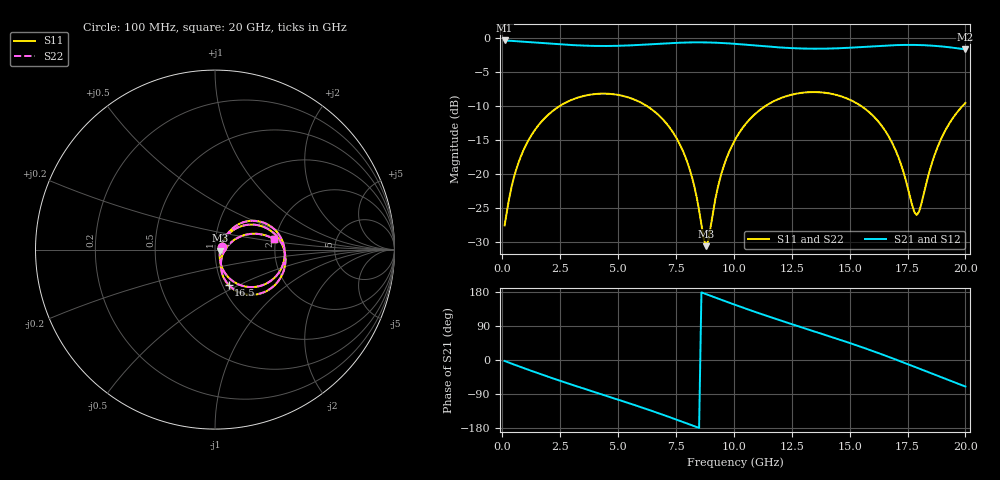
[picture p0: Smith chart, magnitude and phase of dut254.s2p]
! Touchstone file exported from HFSS 2026.1.0
!  File:  C:/ffzhzh/LocalFiles/Ansys_Project_Files/temp_train_TSV_RDL_254_1783068387_45820.aedt
!  Generated:  04:59:48 PM Jul  3, 2026
!  Design:  TSV_RDL
!  Project:  temp_train_TSV_RDL_254_1783068387_45820
! Variables:
!  h_bsmrdl = 4.46um
!  h_ox = 20um
!  h_rdl = 5um
!  h_sub = 93.65um
!  h_tmrdl = 2.24um
!  h_tsv = 93.65um
!  h_via = 3um
!  l_bsmrdl = 854.16um
!  l_sub = 6683.49um
!  l_tmrdl = 899.57um
!  m_sub = 200um
!  pitch = 39.89um
!  r_tsv = 13.64um
!  s_tmrdl = 10um
!  w_bsmrdl = 11.21um
!  w_sub = 500um
!  w_tmrdl = 29.7um
!  x_tsv_center1 = 914.42um
!  x_tsv_center2 = 1779.79um
!  x_tsv_center3 = 2709.06um
!  x_tsv_center4 = 3574.43um
!  x_tsv_center5 = 4503.7um
!  x_tsv_center6 = 5369.07um
# GHz S MA R 50.000000
! Terminal data exported
! Port[1] = TM_RDL1_1_T1
! Port[2] = TM_RDL5_1_T1
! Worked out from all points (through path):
!   200 points, 100 MHz to 20 GHz, reference 50 ohm
!   highest |S21| = -0.33 dB at 100 MHz (marker M1); lowest = -1.7 dB at 20 GHz (marker M2)
!   group delay of S21, straight-line fit = 58.9 ps
!   lowest |S11| = -30.7 dB at 8.8 GHz (marker M3), VSWR 1.06, Z = 52.9 - j0.614 ohm
!   |S11| at or under -10 dB: start of sweep to 2.482 GHz; 6.242 GHz to 11.37 GHz (5.124 GHz wide, 58.2 % of centre); 15.5 GHz to 19.88 GHz (4.379 GHz wide, 24.8 % of centre)
!   |S22| runs from -30.7 to -7.9 dB; largest |S21 - S12| = 5.3e-14
!   S11 on the Smith chart (normalised r, x): 100 MHz: 1.08, +0.04; 16.5 GHz: 1.07, -0.44; 20 GHz: 1.95, +0.26
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0.1  0.04161 23.7  0.9625 -2.5  0.9625 -2.5  0.04161 23.7
! Gamma 0 0 0 0
! Port Impedance 50 0 50 0
0.5  0.09373 50.5  0.9528 -11.8  0.9528 -11.8  0.09374 50.5
1.2  0.1853 47.8  0.9355 -27.4  0.9355 -27.4  0.1853 47.8
2.3  0.3014 30.7  0.9065 -50.8  0.9065 -50.8  0.3013 30.7
3.5  0.3745 9.4  0.8821 -75.1  0.8821 -75.1  0.3744 9.5
5.2  0.3756 -21.2  0.8809 -108.6  0.8809 -108.6  0.3755 -21.2
6.8  0.2659 -50.7  0.9105 -141.5  0.9105 -141.5  0.2658 -50.6
7.5  0.1861 -62.5  0.9238 -156.8  0.9238 -156.8  0.186 -62.5
8  0.1206 -68.3  0.93 -168.0  0.93 -168.0  0.1205 -68.2
8.3  0.07982 -67.3  0.9318 -174.8  0.9318 -174.8  0.07978 -67.3
8.8  0.02925 -11.4  0.9309 173.8  0.9309 173.8  0.02921 -11.3
9.4  0.09166 48.6  0.9234 160.2  0.9234 160.2  0.09163 48.7
10.1  0.1842 43.1  0.9074 144.6  0.9074 144.6  0.1841 43.2
11.7  0.3413 15.2  0.8617 110.7  0.8617 110.7  0.3412 15.3
13.4  0.4006 -15.3  0.8367 77.0  0.8367 77.0  0.4005 -15.2
15  0.3525 -43.9  0.8507 44.9  0.8507 44.9  0.3524 -43.7
16.5  0.2121 -69.0  0.8814 12.5  0.8814 12.5  0.2121 -68.6
16.7  0.1869 -71.4  0.8849 8.0  0.8849 8.0  0.187 -71.0
17.2  0.12 -73.3  0.891 -3.6  0.891 -3.6  0.1203 -72.7
17.9  0.04967 -22.3  0.8915 -20.2  0.8915 -20.2  0.05091 -22.1
18.9  0.1729 26.9  0.8717 -44.2  0.8717 -44.2  0.1733 26.6
20  0.333 10.4  0.8268 -69.9  0.8268 -69.9  0.3332 10.3
